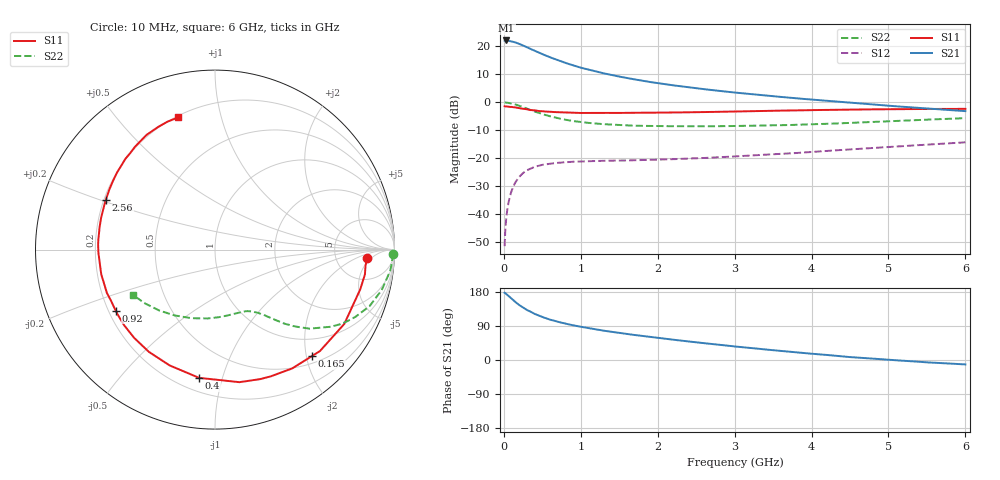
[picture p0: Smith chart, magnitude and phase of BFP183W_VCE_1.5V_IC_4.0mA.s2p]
! Infineon Technologies  Discrete & RF Semiconductors
! BFP183W
! VCE = 1.5 V,  IC =  4.0 mA
! Common Emitter S-Parameters:  Jan 2016
# GHz  S  MA  R  50
!  f  S11  S21  S12  S22
! GHz  MAG  ANG  MAG  ANG  MAG  ANG  MAG  ANG
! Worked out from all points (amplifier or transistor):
!   210 points, 10 MHz to 6 GHz, reference 50 ohm
!   highest |S21| = 22.1 dB at 30 MHz (marker M1)
!   |S21| within 3 dB of that: start of sweep to 345.5 MHz
!   unconditionally stable (mu >= 1): 1.871 GHz to end of sweep
!   at 185 MHz: K = 0.13, MSG = 24.1 dB, |S12| = -27.2 dB
!   at 1.52 GHz: K = 0.86, MSG = 14.9 dB, |S12| = -20.8 dB
!   at 6 GHz: K = 1.02, MAG = 4.7 dB, |S12| = -14.3 dB
!   S11 on the Smith chart (normalised r, x): 10 MHz: 11, -4; 165 MHz: 0.63, -2.10; 400 MHz: 0.28, -0.84; 920 MHz: 0.23, -0.27; 2.56 GHz: 0.21, +0.21; 6 GHz: 0.21, +0.74
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0.01  0.8494 -3.2  12.64 177.5  0.0027 87.8  0.993 -1.4
0.02  0.8433 -6.1  12.65 176.4  0.0056 83.5  0.9888 -2.9
0.03  0.8467 -9.4  12.72 174.5  0.0081 87.7  0.9888 -4.2
0.1  0.8309 -29.9  12.24 161.7  0.026 73.8  0.9555 -13.7
0.15  0.8133 -44.0  11.74 153.0  0.0372 66.8  0.917 -20.1
0.165  0.8019 -47.8  11.51 150.7  0.0399 64.6  0.9019 -21.6
0.2  0.7895 -57.0  11.04 145.1  0.0465 60.4  0.8694 -25.4
0.26  0.7642 -70.8  10.21 137.2  0.056 53.7  0.8107 -30.9
0.3  0.751 -79.6  9.624 132.0  0.0612 50.2  0.7714 -33.9
0.4  0.72 -97.1  8.342 121.7  0.0704 42.5  0.6852 -40.0
0.5  0.693 -111.4  7.254 113.3  0.0765 37.2  0.6165 -44.0
0.6  0.6785 -122.9  6.365 106.5  0.0804 33.1  0.5622 -47.0
0.76  0.6606 -137.2  5.297 98.0  0.0843 29.1  0.5014 -50.2
0.92  0.6496 -148.4  4.487 90.8  0.0871 26.4  0.4594 -52.8
1.02  0.6456 -154.0  4.087 87.0  0.088 25.1  0.4415 -54.4
1.42  0.6464 -171.9  3.033 73.8  0.091 23.3  0.3987 -59.8
2.02  0.655 169.0  2.182 57.9  0.0951 25.1  0.3757 -69.0
2.56  0.668 155.6  1.744 45.4  0.1008 27.8  0.3735 -78.7
3.1  0.6891 144.0  1.45 33.9  0.11 30.4  0.3786 -89.5
4.1  0.7288 126.5  1.091 15.0  0.1327 33.3  0.4085 -112.1
5.1  0.7544 113.9  0.849 -0.7  0.1622 32.9  0.465 -134.5
6  0.7642 105.5  0.696 -11.7  0.193 30.5  0.5215 -150.8
